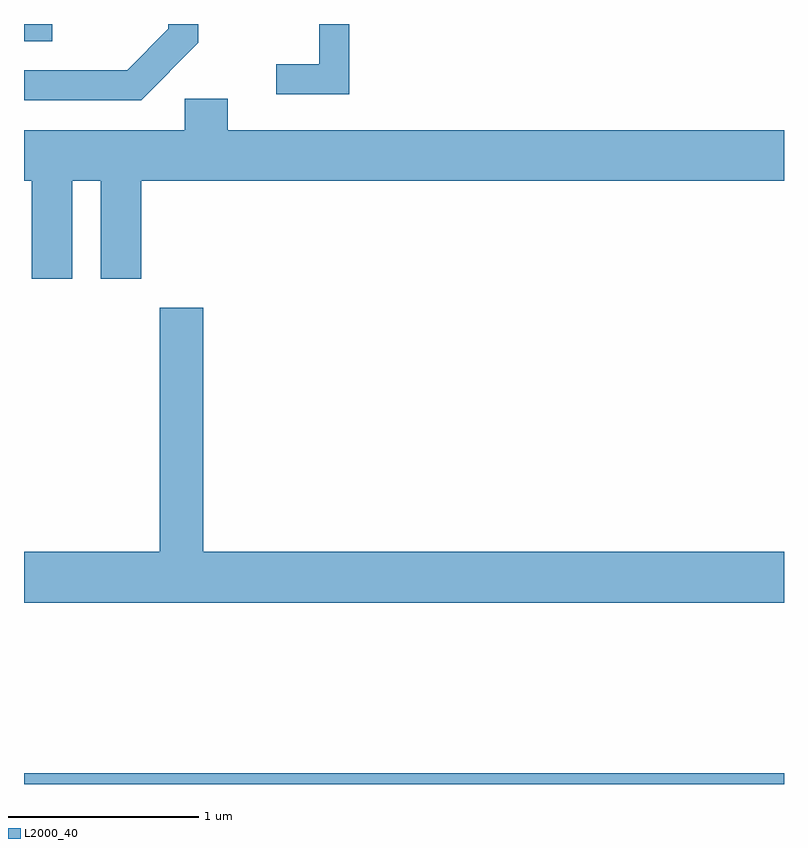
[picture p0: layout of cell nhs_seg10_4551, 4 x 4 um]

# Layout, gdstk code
import gdstk
lib = gdstk.Library(unit=1e-6, precision=1e-09)
def R(c, l, rs):  # rectangles x0, y0, x1, y1
    for r in rs: c.add(gdstk.rectangle(r[:2], r[2:], *l))
def P(c, l, *ps):  # polygons
    for p in ps: c.add(gdstk.Polygon(p, *l))
L2000_40 = (2000, 40)

nhs_seg10_4551 = lib.new_cell('nhs_seg10_4551')
R(nhs_seg10_4551, L2000_40, [(319.611,2108.522,323.611,2108.579), (319.611,2112.431,319.759,2112.522)])
P(nhs_seg10_4551, L2000_40, [(321.324,2112.522),(321.166,2112.522),(321.166,2112.309),(320.938,2112.309),(320.938,2112.151),(321.324,2112.151)],
  [(320.529,2112.424),(320.529,2112.522),(320.371,2112.522),(320.371,2112.497),(320.154,2112.279),(319.611,2112.279),(319.611,2112.121),(320.227,2112.121)],
  [(319.864,2111.696),(320.016,2111.696),(320.016,2111.181),(320.229,2111.181),(320.229,2111.696),(323.611,2111.696),(323.611,2111.964),(320.684,2111.964),(320.684,2112.129),(320.456,2112.129),(320.456,2111.964),(319.611,2111.964),(319.611,2111.696),(319.651,2111.696),(319.651,2111.181),(319.864,2111.181)],
  [(323.611,2109.744),(320.554,2109.744),(320.554,2111.029),(320.326,2111.029),(320.326,2109.744),(319.611,2109.744),(319.611,2109.476),(323.611,2109.476)])

lib.write_gds('nhs_seg10_4551.gds')
